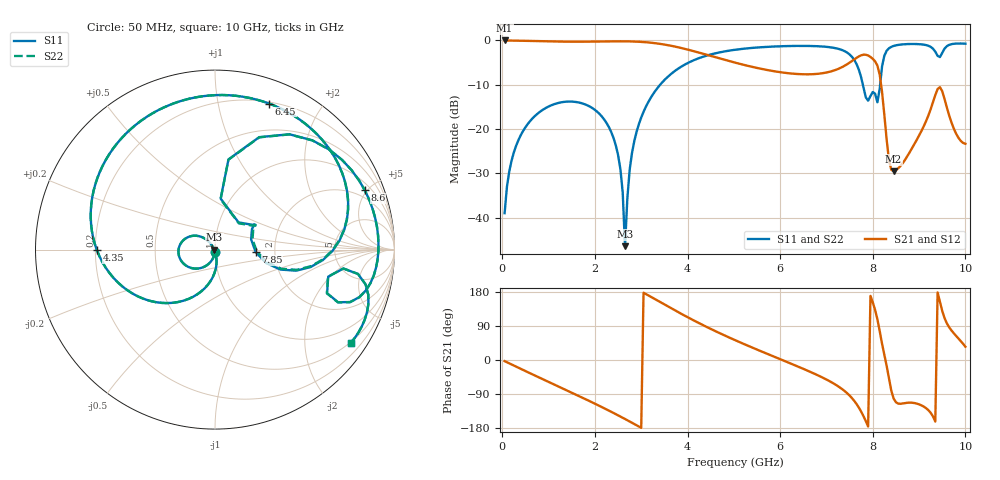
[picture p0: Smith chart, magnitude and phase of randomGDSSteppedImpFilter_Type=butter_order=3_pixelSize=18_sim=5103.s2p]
! freq	dB(S11)	phase(S11)	dB(S12)	phase(S12)
!  dB(S21)	phase(S21)	dB(S22)	phase(S22)
!S-par simulation data
#  GHz  S  DB  R 50
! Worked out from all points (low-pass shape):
!   200 points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, 50 MHz to 10 GHz, reference 50 ohm
!   highest |S21| = -0.01 dB at 50 MHz (marker M1); lowest = -29.5 dB at 8.45 GHz (marker M2)
!   |S21| within 3 dB of the highest: start of sweep to 4.336 GHz
!   lowest |S11| = -46.4 dB at 2.65 GHz (marker M3), VSWR 1.01, Z = 49.5 - j0.022 ohm
!   |S11| at or under -10 dB: start of sweep to 3.409 GHz; 7.786 GHz to 8.159 GHz (372.6 MHz wide, 4.67 % of centre)
!   |S22| runs from -46.1 to -0.7 dB; largest |S21 - S12| = 0
!   S11 on the Smith chart (normalised r, x): 50 MHz: 1.00, -0.02; 4.35 GHz: 0.21, -0.00; 6.45 GHz: 0.22, +1.42; 7.85 GHz: 1.59, -0.04; 8.6 GHz: 1.41, +4.82; 10 GHz: 0.48, -3.17
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0.05  -38.99 -91.8  -0.01 -3.0  -0.01 -3.0  -38.99 -91.7
0.2  -27.15 -101.6  -0.03 -11.8  -0.03 -11.8  -27.15 -101.6
0.55  -18.86 -122.4  -0.10 -32.1  -0.10 -32.1  -18.86 -122.4
1.75  -14.29 169.1  -0.29 -100.6  -0.29 -100.6  -14.29 169.1
2.45  -23.64 129.3  -0.20 -142.8  -0.20 -142.8  -23.64 129.4
2.6  -34.29 128.0  -0.20 -152.4  -0.20 -152.4  -34.27 128.6
2.65  -46.44 -177.3  -0.20 -155.7  -0.20 -155.7  -46.11 -176.7
2.85  -22.73 -83.1  -0.25 -168.9  -0.25 -168.9  -22.73 -83.3
3.4  -10.11 -118.3  -0.76 153.4  -0.76 153.4  -10.11 -118.3
4.35  -3.63 -179.8  -3.05 91.0  -3.05 91.0  -3.63 -179.8
5.05  -2.08 140.6  -5.08 51.1  -5.08 51.1  -2.08 140.7
6.45  -1.23 69.6  -7.62 -20.7  -7.62 -20.7  -1.23 69.7
6.7  -1.27 56.7  -7.62 -34.0  -7.62 -34.0  -1.26 56.8
7.4  -2.46 12.7  -5.67 -82.7  -5.67 -82.7  -2.46 13.0
7.85  -12.88 -3.4  -3.23 -161.4  -3.23 -161.4  -12.61 -2.8
8.1  -13.96 49.2  -5.68 107.3  -5.68 107.3  -14.08 47.7
8.2  -5.88 81.5  -11.59 43.1  -11.59 43.1  -5.92 81.5
8.35  -1.77 48.3  -27.05 -48.8  -27.05 -48.8  -1.77 48.2
8.45  -1.25 35.3  -29.52 -101.6  -29.52 -101.6  -1.24 35.2
8.6  -0.94 21.7  -28.32 -115.5  -28.32 -115.5  -0.94 21.6
9.45  -3.76 -13.5  -10.55 153.8  -10.55 153.8  -3.78 -13.5
10  -0.74 -34.4  -23.33 35.1  -23.33 35.1  -0.75 -34.4
